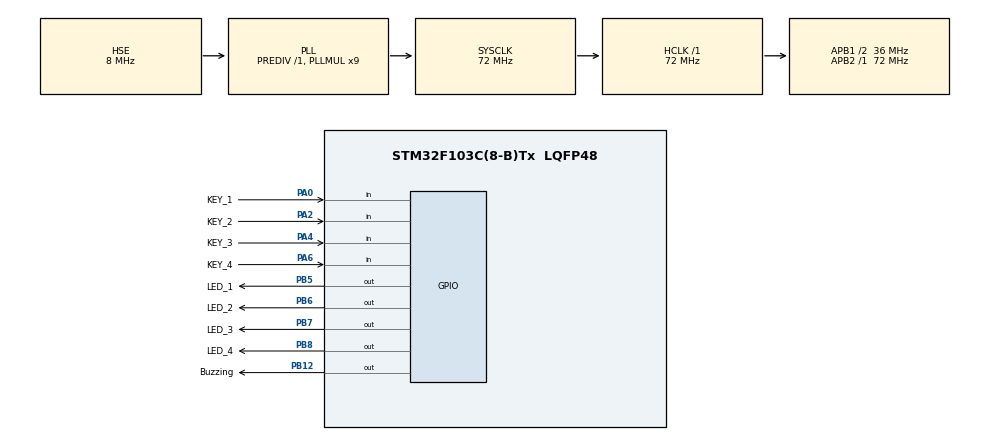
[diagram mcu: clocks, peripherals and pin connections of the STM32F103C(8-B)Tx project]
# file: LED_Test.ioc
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Mcu.Family=STM32F1
Mcu.Name=STM32F103C(8-B)Tx
Mcu.Package=LQFP48
NVIC.PriorityGroup=NVIC_PRIORITYGROUP_4
PA0-WKUP.GPIO_Label=KEY_1
PA0-WKUP.GPIO_PuPd=GPIO_PULLUP
PA0-WKUP.Signal=GPIO_Input
PA13.Mode=Serial_Wire
PA13.Signal=SYS_JTMS-SWDIO
PA14.Mode=Serial_Wire
PA14.Signal=SYS_JTCK-SWCLK
PA2.GPIO_Label=KEY_2
PA2.GPIO_PuPd=GPIO_PULLUP
PA2.Signal=GPIO_Input
PA4.GPIO_Label=KEY_3
PA4.GPIO_PuPd=GPIO_PULLUP
PA4.Signal=GPIO_Input
PA6.GPIO_Label=KEY_4
PA6.GPIO_PuPd=GPIO_PULLUP
PA6.Signal=GPIO_Input
PB10.Signal=I2C2_SCL
PB11.Signal=I2C2_SDA
PB12.GPIO_Label=Buzzing
PB12.GPIO_Speed=GPIO_SPEED_FREQ_HIGH
PB12.PinState=GPIO_PIN_RESET
PB12.Signal=GPIO_Output
PB5.GPIO_Label=LED_1
PB5.GPIO_Speed=GPIO_SPEED_FREQ_HIGH
PB5.PinState=GPIO_PIN_SET
PB5.Signal=GPIO_Output
PB6.GPIO_Label=LED_2
PB6.GPIO_Speed=GPIO_SPEED_FREQ_HIGH
PB6.PinState=GPIO_PIN_SET
PB6.Signal=GPIO_Output
PB7.GPIO_Label=LED_3
PB7.GPIO_Speed=GPIO_SPEED_FREQ_HIGH
PB7.PinState=GPIO_PIN_SET
PB7.Signal=GPIO_Output
PB8.GPIO_Label=LED_4
PB8.GPIO_Speed=GPIO_SPEED_FREQ_HIGH
PB8.PinState=GPIO_PIN_SET
PB8.Signal=GPIO_Output
PD0-OSC_IN.Mode=HSE-External-Oscillator
PD0-OSC_IN.Signal=RCC_OSC_IN
PD1-OSC_OUT.Mode=HSE-External-Oscillator
PD1-OSC_OUT.Signal=RCC_OSC_OUT
ProjectManager.HeapSize=0x200
ProjectManager.StackSize=0x400
ProjectManager.TargetToolchain=MDK-ARM V5.32
RCC.AHBFreq_Value=72000000
RCC.APB1CLKDivider=RCC_HCLK_DIV2
RCC.APB1Freq_Value=36000000
RCC.APB1TimFreq_Value=72000000
RCC.APB2Freq_Value=72000000
RCC.APB2TimFreq_Value=72000000
RCC.HCLKFreq_Value=72000000
RCC.PLLMUL=RCC_PLL_MUL9
RCC.PLLSourceVirtual=RCC_PLLSOURCE_HSE
RCC.SYSCLKFreq_VALUE=72000000
RCC.SYSCLKSource=RCC_SYSCLKSOURCE_PLLCLK
RCC.USBFreq_Value=72000000
board=custom

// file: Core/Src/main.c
/* USER CODE BEGIN Header */
/**
  ******************************************************************************
  * @file           : main.c
  * @brief          : Main program body
  ******************************************************************************
  */
/* USER CODE E·ND Header */
#include "main.h"
#include "gpio.h"

/* USER CODE BEGIN PTD */
uint8_t Key_Scan(GPIO_TypeDef* GPIOx, uint16_t GPIO_Pin);

/* USER CODE END PTD */

void SystemClock_Config(void);

/* USER CODE BEGIN 0 */

uint8_t Key_Scan(GPIO_TypeDef* GPIOx, uint16_t GPIO_Pin) {
    // 假设按键按下为低电平 (GPIO_PIN_RESET)
    if(HAL_GPIO_ReadPin(GPIOx, GPIO_Pin) == GPIO_PIN_RESET) {
        HAL_Delay(20); // 简单消抖
        if(HAL_GPIO_ReadPin(GPIOx, GPIO_Pin) == GPIO_PIN_RESET) {
            while(HAL_GPIO_ReadPin(GPIOx, GPIO_Pin) == GPIO_PIN_RESET); // 等待释放
            return 1; // 按键按下
        }
    }
    return 0; // 无按键
}

/* USER CODE END 0 */

int main(void)
{

  /* MCU Configuration--------------------------------------------------------*/

  /* Reset of all peripherals, Initializes the Flash interface and the Systick. */
  HAL_Init();

  /* Configure the system clock */
  SystemClock_Config();

  /* Initialize all configured peripherals */
  MX_GPIO_Init();

  /* Infinite loop */
while (1)
{

    /* USER CODE BEGIN 3 */
    // KEY1(PA0) 控制 LED1(PB5)
    if(Key_Scan(KEY_1_GPIO_Port, KEY_1_Pin))
        HAL_GPIO_WritePin(LED_1_GPIO_Port, LED_1_Pin, GPIO_PIN_RESET);
    else
        HAL_GPIO_WritePin(LED_1_GPIO_Port, LED_1_Pin, GPIO_PIN_SET);

    // KEY2(PA2) 控制 LED2(PB6)
    if(Key_Scan(KEY_2_GPIO_Port, KEY_2_Pin))
        HAL_GPIO_WritePin(LED_2_GPIO_Port, LED_2_Pin, GPIO_PIN_RESET);
    else
        HAL_GPIO_WritePin(LED_2_GPIO_Port, LED_2_Pin, GPIO_PIN_SET);

    // KEY3(PA4) 控制 LED3(PB7)
    if(Key_Scan(KEY_3_GPIO_Port, KEY_3_Pin))
        HAL_GPIO_WritePin(LED_3_GPIO_Port, LED_3_Pin, GPIO_PIN_RESET);
    else
        HAL_GPIO_WritePin(LED_3_GPIO_Port, LED_3_Pin, GPIO_PIN_SET);

    // KEY4(PA6) 控制 LED4(PB8)
    if(Key_Scan(KEY_4_GPIO_Port, KEY_4_Pin))
        HAL_GPIO_WritePin(LED_4_GPIO_Port, LED_4_Pin, GPIO_PIN_RESET);
    else
        HAL_GPIO_WritePin(LED_4_GPIO_Port, LED_4_Pin, GPIO_PIN_SET);

    HAL_Delay(10);
    /* USER CODE END 3 */
}
/* 关键修复：添加main函数的闭合大括号 */
}

void SystemClock_Config(void)
{
  RCC_OscInitTypeDef RCC_OscInitStruct = {0};
  RCC_ClkInitTypeDef RCC_ClkInitStruct = {0};

  /** Initializes the RCC Oscillators according to the specified parameters
  * in the RCC_OscInitTypeDef structure.
  */
  RCC_OscInitStruct.OscillatorType = RCC_OSCILLATORTYPE_HSE;
  RCC_OscInitStruct.HSEState = RCC_HSE_ON;
  RCC_OscInitStruct.HSEPredivValue = RCC_HSE_PREDIV_DIV1;
  RCC_OscInitStruct.HSIState = RCC_HSI_ON;
  RCC_OscInitStruct.PLL.PLLState = RCC_PLL_ON;
  RCC_OscInitStruct.PLL.PLLSource = RCC_PLLSOURCE_HSE;
  RCC_OscInitStruct.PLL.PLLMUL = RCC_PLL_MUL9;
  if (HAL_RCC_OscConfig(&RCC_OscInitStruct) != HAL_OK)
  {
    Error_Handler();
  }

  /** Initializes the CPU, AHB and APB buses clocks
  */
  RCC_ClkInitStruct.ClockType = RCC_CLOCKTYPE_HCLK|RCC_CLOCKTYPE_SYSCLK
                              |RCC_CLOCKTYPE_PCLK1|RCC_CLOCKTYPE_PCLK2;
  RCC_ClkInitStruct.SYSCLKSource = RCC_SYSCLKSOURCE_PLLCLK;
  RCC_ClkInitStruct.AHBCLKDivider = RCC_SYSCLK_DIV1;
  RCC_ClkInitStruct.APB1CLKDivider = RCC_HCLK_DIV2;
  RCC_ClkInitStruct.APB2CLKDivider = RCC_HCLK_DIV1;

  if (HAL_RCC_ClockConfig(&RCC_ClkInitStruct, FLASH_LATENCY_2) != HAL_OK)
  {
    Error_Handler();
  }
}

void Error_Handler(void)
{
  __disable_irq();
  while (1)
  {
  }
}
